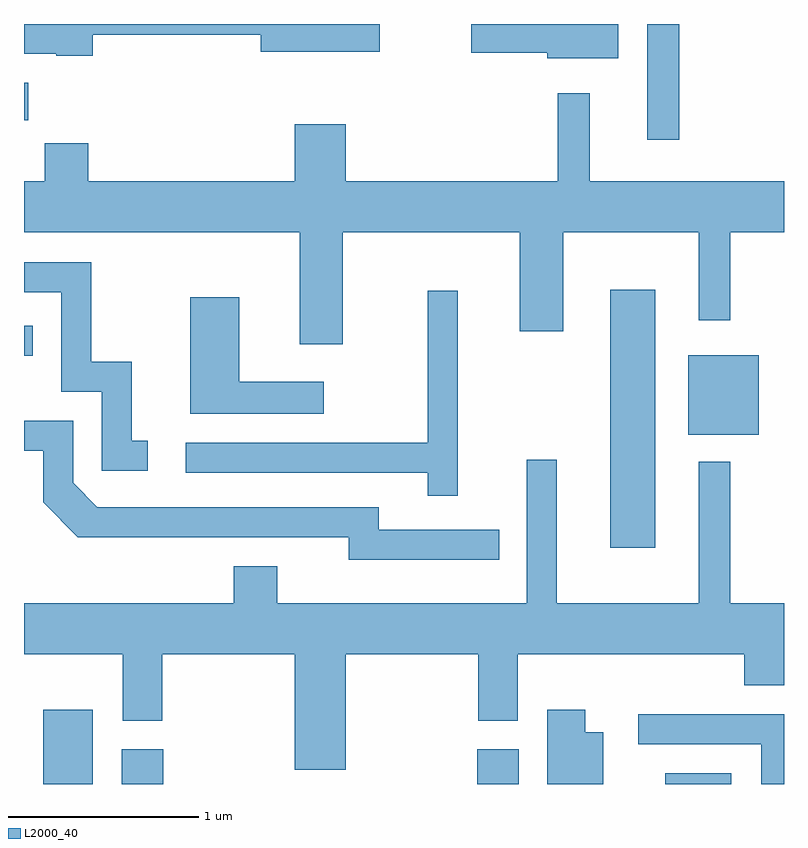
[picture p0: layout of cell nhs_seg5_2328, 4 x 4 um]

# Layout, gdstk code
import gdstk
lib = gdstk.Library(unit=1e-6, precision=1e-09)
def R(c, l, rs):  # rectangles x0, y0, x1, y1
    for r in rs: c.add(gdstk.rectangle(r[:2], r[2:], *l))
def P(c, l, *ps):  # polygons
    for p in ps: c.add(gdstk.Polygon(p, *l))
L2000_40 = (2000, 40)

nhs_seg5_2328 = lib.new_cell('nhs_seg5_2328')
R(nhs_seg5_2328, L2000_40, [(253.711,1496.072,253.974,1496.464), (254.126,1496.072,254.344,1496.254), (255.996,1496.072,256.214,1496.254), (256.986,1496.072,257.334,1496.129), (256.696,1497.316,256.934,1498.674), (257.106,1497.911,257.479,1498.329), (253.611,1498.326,253.658,1498.484), (256.891,1499.463,257.059,1500.072), (253.611,1499.566,253.634,1499.764)])
P(nhs_seg5_2328, L2000_40, [(256.739,1500.072),(255.966,1500.072),(255.966,1499.921),(256.366,1499.921),(256.366,1499.891),(256.739,1499.891)],
  [(253.974,1500.016),(254.856,1500.016),(254.856,1499.926),(255.484,1499.926),(255.484,1500.072),(253.611,1500.072),(253.611,1499.916),(253.78,1499.916),(253.78,1499.906),(253.974,1499.906)],
  [(255.289,1498.976),(256.221,1498.976),(256.221,1498.456),(256.449,1498.456),(256.449,1498.976),(257.161,1498.976),(257.161,1498.513),(257.329,1498.513),(257.329,1498.976),(257.611,1498.976),(257.611,1499.244),(256.589,1499.244),(256.589,1499.708),(256.421,1499.708),(256.421,1499.244),(255.304,1499.244),(255.304,1499.544),(255.036,1499.544),(255.036,1499.244),(253.949,1499.244),(253.949,1499.444),(253.721,1499.444),(253.721,1499.244),(253.611,1499.244),(253.611,1498.976),(255.061,1498.976),(255.061,1498.386),(255.289,1498.386)],
  [(254.263,1497.879),(254.179,1497.879),(254.179,1498.294),(253.964,1498.294),(253.964,1498.819),(253.611,1498.819),(253.611,1498.661),(253.806,1498.661),(253.806,1498.136),(254.021,1498.136),(254.021,1497.721),(254.263,1497.721)],
  [(255.894,1498.668),(255.736,1498.668),(255.736,1497.869),(254.463,1497.869),(254.463,1497.711),(255.736,1497.711),(255.736,1497.588),(255.894,1497.588)],
  [(255.188,1498.189),(254.744,1498.189),(254.744,1498.634),(254.486,1498.634),(254.486,1498.021),(255.188,1498.021)],
  [(256.113,1497.409),(255.479,1497.409),(255.479,1497.529),(253.997,1497.529),(253.869,1497.657),(253.869,1497.984),(253.611,1497.984),(253.611,1497.826),(253.711,1497.826),(253.711,1497.554),(253.894,1497.371),(255.321,1497.371),(255.321,1497.251),(256.113,1497.251)],
  [(255.304,1496.756),(256.001,1496.756),(256.001,1496.406),(256.209,1496.406),(256.209,1496.756),(257.401,1496.756),(257.401,1496.591),(257.611,1496.591),(257.611,1497.024),(257.329,1497.024),(257.329,1497.768),(257.161,1497.768),(257.161,1497.024),(256.414,1497.024),(256.414,1497.778),(256.256,1497.778),(256.256,1497.024),(254.944,1497.024),(254.944,1497.219),(254.716,1497.219),(254.716,1497.024),(253.611,1497.024),(253.611,1496.756),(254.131,1496.756),(254.131,1496.406),(254.339,1496.406),(254.339,1496.756),(255.036,1496.756),(255.036,1496.146),(255.304,1496.146)],
  [(256.659,1496.344),(256.564,1496.344),(256.564,1496.464),(256.366,1496.464),(256.366,1496.072),(256.659,1496.072)],
  [(257.611,1496.439),(256.843,1496.439),(256.843,1496.281),(257.491,1496.281),(257.491,1496.072),(257.611,1496.072)])

lib.write_gds('nhs_seg5_2328.gds')
